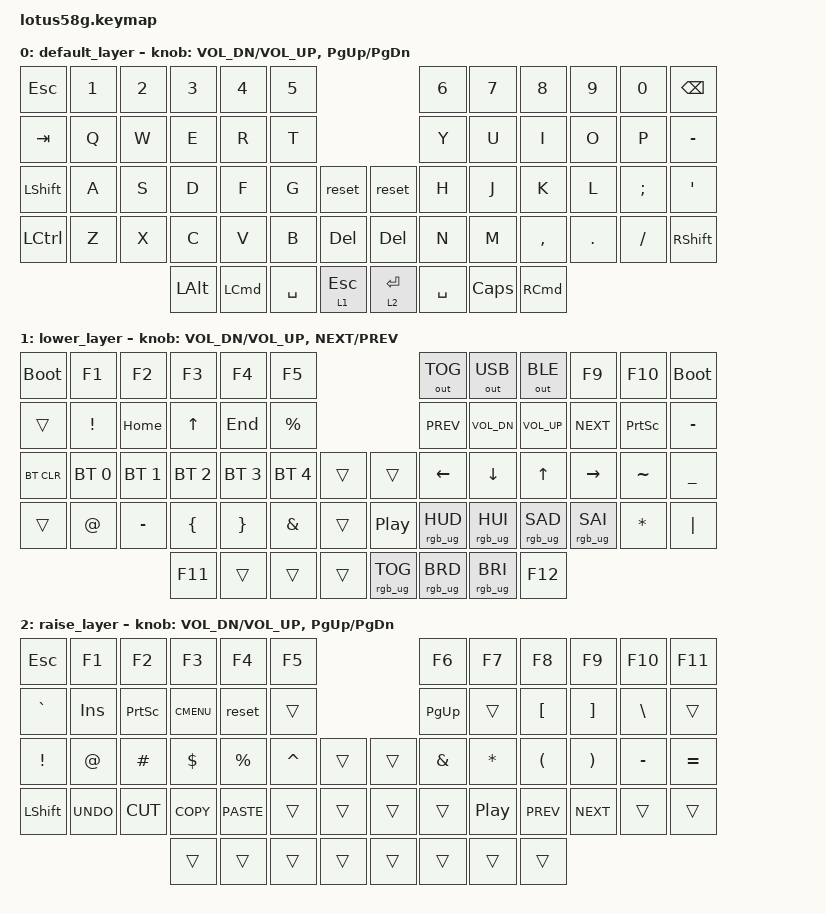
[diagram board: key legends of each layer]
/*
 * Copyright (c) 2022 The ZMK Contributors
 *
 * SPDX-License-Identifier: MIT
 */

#define DEFAULT 0
#define LOWER   1
#define RAISE   2


#include <behaviors.dtsi>
#include <dt-bindings/zmk/keys.h>
#include <dt-bindings/zmk/bt.h>
#include <dt-bindings/zmk/rgb.h>
#include <dt-bindings/zmk/outputs.h>
#include <dt-bindings/zmk/backlight.h>
#include <dt-bindings/zmk/ext_power.h>
#include <dt-bindings/led/led.h>

&spi1 {
  compatible = "nordic,nrf-spim";
  status = "okay";
  mosi-pin = <6>;
  // Unused pins, needed for SPI definition, but not used by the ws2812 driver itself.
  sck-pin = <5>;
  miso-pin = <7>;

  led_strip: ws2812@0 {
    compatible = "worldsemi,ws2812-spi";
    label = "WS2812";

    /* SPI */
    reg = <0>; /* ignored, but necessary for SPI bindings */
    spi-max-frequency = <4000000>;

    /* WS2812 */
    chain-length = <36>; /* number of LEDs */
    spi-one-frame = <0x70>;
    spi-zero-frame = <0x40>;
    color-mapping = <LED_COLOR_ID_GREEN
                          LED_COLOR_ID_RED
                          LED_COLOR_ID_BLUE>;
  };
};


/ {
    combos {
        compatible = "zmk,combos";
        combo_dsklg {
            timeout-ms = <100>;
            key-positions = <24 52>;
            layers = <0>;
            bindings = <&kp LGUI>;
        };        
    };

    behaviors {
        fofunc: four_ffour {
            compatible = "zmk,behavior-mod-morph";
            label = "FOUR_FUNCFOUR";
            #binding-cells = <0>;
            bindings = <&kp N4>, <&kp F4>;
            mods = <(MOD_LALT|MOD_RALT)>;
        };
        sleft: s_left {
            compatible = "zmk,behavior-mod-morph";
            label = "S_LEFT";
            #binding-cells = <0>;
            bindings = <&kp S>, <&kp LEFT>;
            mods = <(MOD_LGUI|MOD_RGUI)>;
        };
        fright: f_right {
            compatible = "zmk,behavior-mod-morph";
            label = "R_RIGHT";
            #binding-cells = <0>;
            bindings = <&kp F>, <&kp RIGHT>;
            mods = <(MOD_LGUI|MOD_RGUI)>;
        };
    };

    keymap {
        compatible = "zmk,keymap";

        default_layer {
//   ------------------------------------------------------------------------------------------------------------
//  0|  ESC  |  1  |  2  |  3   |  4   |  5   |                     |  6   |  7    |  8    |  9   |   0   |  BSPC | 11
// 12|  TAB  |  Q  |  W  |  E   |  R   |  T   |                     |  Y   |  U    |  I    |  O   |   P   |   -   | 23
// 24|  SFT  |  A  |  S  |  D   |  F   |  G   |  RESET  |  | RESET  |  H   |  J    |  K    |  L   |   ;   |  SQT  | 37
// 38|  CTRL |  Z  |  X  |  C   |  V   |  B   |   DEL   |  |   DEL  |  N   |  M    |  ,    |  .   |   /   | SHIFT | 51
// 52                    | LALT | LCMD |ESC LW|  SPACE  |  | SPACE  |RET RS|  CAPS | RGUI  |                        59
            bindings = <
&kp ESC   &kp N1 &kp N2   &kp N3     &kp N4    &kp N5                                &kp N6    &kp N7      &kp N8    &kp N9   &kp N0   &kp BSPC 
&kp TAB   &kp Q  &kp W    &kp E      &kp R     &kp T                                 &kp Y     &kp U       &kp I     &kp O    &kp P    &kp MINUS
&kp LSHFT &kp A  &kp S    &kp D      &kp F     &kp G       &reset         &reset     &kp H     &kp J       &kp K     &kp L    &kp SEMI &kp SQT 
&kp LCTRL &kp Z  &kp X    &kp C      &kp V     &kp B       &kp DEL        &kp DEL    &kp N     &kp M       &kp COMMA &kp DOT  &kp FSLH &kp RSHFT 
                          &kp LALT   &kp LCMD  &kp SPACE   &lt 1 ESC      &lt 2 RET  &kp SPACE &kp CAPS    &kp RCMD 
            >;

            sensor-bindings = <&inc_dec_kp C_VOL_DN C_VOL_UP &inc_dec_kp PG_UP PG_DN>;
        };

        lower_layer {
// ------------------------------------------------------------------------------------------------------------
// | reset |  F1 |  F2 |  F3  |  F4  |  F5  |                   |OUTTOG|OUTUSB | OUTBT |  F9  |  F10  |  reset |
// |       |  !  | HOME|   ^  |  END |  %   |                   | PREV |  VOLv |  VOL^ | NEXT |  PSCR |   -   |
// |BT_CLR | BT1 | BT2 | BT3  | BT4  |  BT5 |        |  |       |  <-  |   v   |   ^   |  ->  |   ~   |   _   |
// |       |  @  |  -  |  (   |  )   |  &   |        |  | PLAY  | HUED | HUEI  | SATD  | SATI |   *   |   |   |
//                     |  F11 |      |      |        |  | RGBTG | BRD  |  BRI  |  F12  |       
            bindings = <
&bootloader  &kp F1        &kp F2        &kp F3        &kp F4        &kp F5                                  &out OUT_TOG     &out OUT_USB     &out OUT_BLE     &kp F9            &kp F10    &bootloader
&trans       &kp EXCL      &kp HOME      &kp UP        &kp END       &kp PRCNT                               &kp C_PREV       &kp C_VOL_DN     &kp C_VOL_UP     &kp C_NEXT        &kp PSCRN  &kp MINUS
&bt BT_CLR   &bt BT_SEL 0  &bt BT_SEL 1  &bt BT_SEL 2  &bt BT_SEL 3  &bt BT_SEL 4  &trans   &trans           &kp LEFT         &kp DOWN         &kp UP           &kp RIGHT         &kp TILDE  &kp UNDER
&trans       &kp AT        &kp MINUS     &kp LBRC      &kp RBRC      &kp AMPS      &trans   &kp C_PP         &rgb_ug RGB_HUD  &rgb_ug RGB_HUI  &rgb_ug RGB_SAD  &rgb_ug  RGB_SAI  &kp STAR   &kp PIPE
                                         &kp F11       &trans        &trans        &trans   &rgb_ug RGB_TOG  &rgb_ug RGB_BRD  &rgb_ug RGB_BRI  &kp F12
            >;

            sensor-bindings = <&inc_dec_kp C_VOL_DN C_VOL_UP &inc_dec_kp C_NEXT C_PREV>;
        };

        raise_layer {
// ------------------------------------------------------------------------------------------------------------
// | ESC | F1   | F2   |  F3   |  F4   |  F5  |                |  F6  |  F7  |   F8  |  F9  |  F10  |  F11  |
// |     | INS  | PSCR | GUI   | RESET |      |                | PGUP |   [  |   ]   |      |   \   |       |
// | `   |  !   |   @  |   #   |   $   |   %  |   ^  |  |   &  |   *  |   (  |   )   |   -  |   =   |       |
// |     | UNDO | CUT  | COPY  | PASTE |      |      |  |      |      |  |>  |  <|<| | |>|> |       |       |
//                     |       |       |      |      |  |      |      |      |       |       
            bindings = <
&kp ESC      &kp F1       &kp F2       &kp F3       &kp F4       &kp F5                                &kp F6        &kp F7        &kp F8        &kp F9      &kp F10    &kp F11
&kp GRAVE    &kp INS      &kp PSCRN    &kp K_CMENU  &reset       &trans                                &kp PG_UP     &trans        &kp LBKT      &kp RBKT    &kp BSLH   &trans
&kp EXCL     &kp AT       &kp POUND    &kp DOLLAR   &kp PRCNT    &kp CARET    &trans      &trans       &kp AMPS      &kp STAR      &kp LPAR      &kp RPAR    &kp MINUS  &kp EQUAL
&kp LSHFT    &kp K_UNDO   &kp K_CUT    &kp K_COPY   &kp K_PASTE  &trans       &trans      &trans       &trans        &kp C_PP      &kp C_PREV    &kp C_NEXT  &trans     &trans
                                       &trans       &trans       &trans       &trans      &trans       &trans        &trans        &trans   
            >;

            sensor-bindings = <&inc_dec_kp C_VOL_DN C_VOL_UP &inc_dec_kp PG_UP PG_DN>;
        };
    };
};
